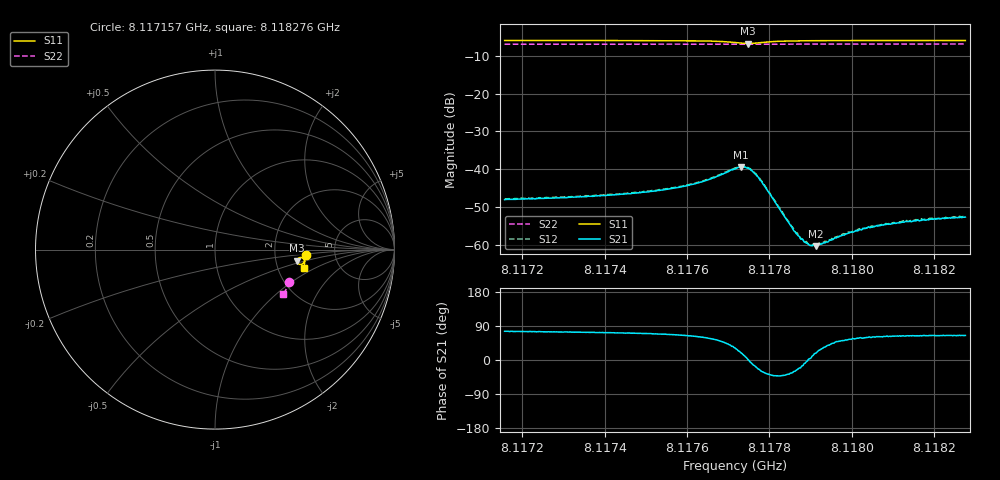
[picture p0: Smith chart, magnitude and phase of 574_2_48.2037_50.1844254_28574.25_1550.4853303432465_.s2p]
#  HZ  S  RI  R  50.00
! Rohde & Schwarz Vector Network Analyzer
! Rohde-Schwarz,ZNB20-2Port,1311601062101988,3.16
! Created: UTC 3/20/2024, 12:01:49 PM
! freq[Hz]  re:S11  im:S11  re:S21  im:S21  re:S12  im:S12  re:S22  im:S22
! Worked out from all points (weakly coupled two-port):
!   401 points, 8.117157 GHz to 8.118276 GHz, reference 50 ohm
!   highest |S21| = -39.43 dB at 8.117731 GHz (marker M1); lowest = -60.4 dB at 8.117913 GHz (marker M2)
!   lowest |S11| = -6.7 dB at 8.117747 GHz (marker M3), VSWR 2.71, Z = 132 - j20.7 ohm
!   |S11| at or under -10 dB: nowhere
!   |S22| runs from -6.9 to -6.8 dB; largest |S21 - S12| = 0.00039
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8.1171568e9  0.5058 -0.0275  0.000967 0.00382  0.00104 0.00393  0.4148 -0.1791
8.1173443e9  0.5042 -0.043  0.00125 0.00411  0.00129 0.00419  0.4102 -0.191
8.1174535e9  0.5025 -0.0528  0.00153 0.00447  0.00161 0.0045  0.4071 -0.1982
8.1175318e9  0.5008 -0.0607  0.00192 0.00485  0.00198 0.00498  0.4047 -0.2032
8.117585e9  0.4984 -0.0671  0.00241 0.0053  0.00253 0.00536  0.4032 -0.2067
8.1176326e9  0.4943 -0.0737  0.00331 0.00586  0.00338 0.00595  0.4014 -0.2096
8.1177166e9  0.4685 -0.0812  0.00855 0.00526  0.00889 0.00544  0.3978 -0.2148
8.1177306e9  0.4609 -0.0751  0.0101 0.00353  0.0102 0.00355  0.3972 -0.2153
8.1177474e9  0.4572 -0.0618  0.0103 0.000385  0.0105 0.000164  0.3967 -0.2156
8.1177614e9  0.4618 -0.0508  0.00883 -0.00207  0.00913 -0.00205  0.3965 -0.2161
8.1177782e9  0.4727 -0.0445  0.00626 -0.00325  0.00648 -0.00334  0.3966 -0.2169
8.1178649e9  0.4969 -0.0594  0.00125 -0.000653  0.00127 -0.00065  0.3948 -0.2229
8.1178817e9  0.4978 -0.0624  0.00113 -0.000299  0.00112 -0.000262  0.3943 -0.2241
8.1178929e9  0.4983 -0.0641  0.00103 -3.64e-05  0.00104 -4.27e-05  0.3939 -0.2249
8.1179041e9  0.4984 -0.0657  0.000948 0.000174  0.000968 0.000143  0.3936 -0.2256
8.1179125e9  0.4987 -0.0671  0.00091 0.000289  0.000982 0.000314  0.3935 -0.2262
8.1179433e9  0.499 -0.0711  0.000848 0.000689  0.000853 0.000713  0.3924 -0.2282
8.1179769e9  0.4989 -0.0751  0.000831 0.00103  0.00087 0.00106  0.3915 -0.2303
8.1180329e9  0.4985 -0.0809  0.000851 0.00141  0.000855 0.00139  0.3894 -0.2338
8.1180916e9  0.498 -0.0863  0.00086 0.00167  0.0009 0.0017  0.3875 -0.2373
8.1181952e9  0.4966 -0.0955  0.000932 0.00197  0.000982 0.00202  0.3839 -0.2438
8.1182764e9  0.4952 -0.1019  0.000985 0.0021  0.00101 0.00215  0.3809 -0.2488
